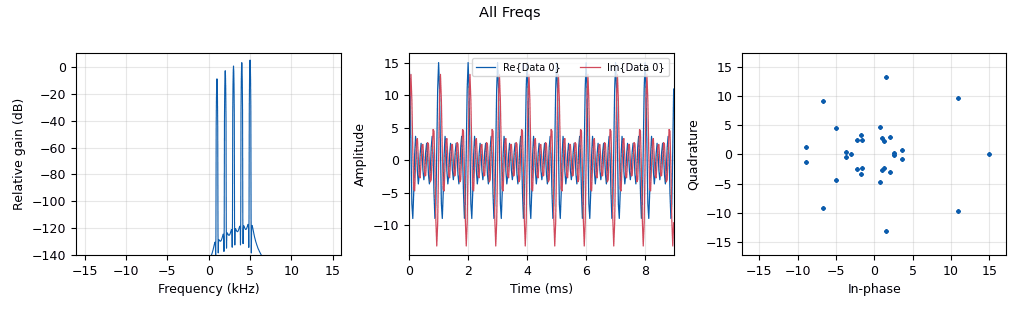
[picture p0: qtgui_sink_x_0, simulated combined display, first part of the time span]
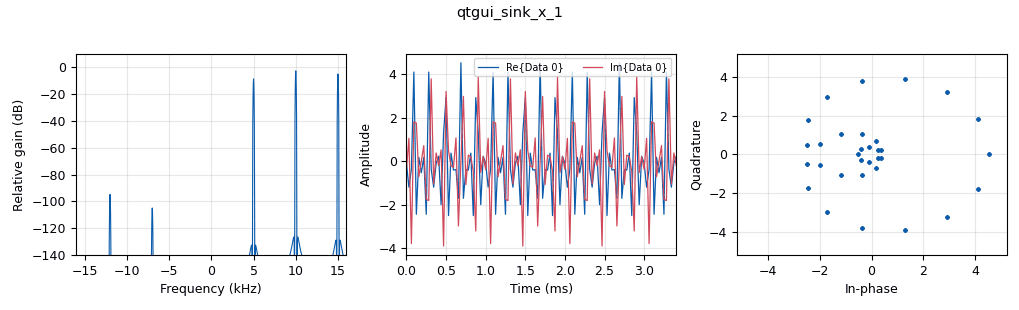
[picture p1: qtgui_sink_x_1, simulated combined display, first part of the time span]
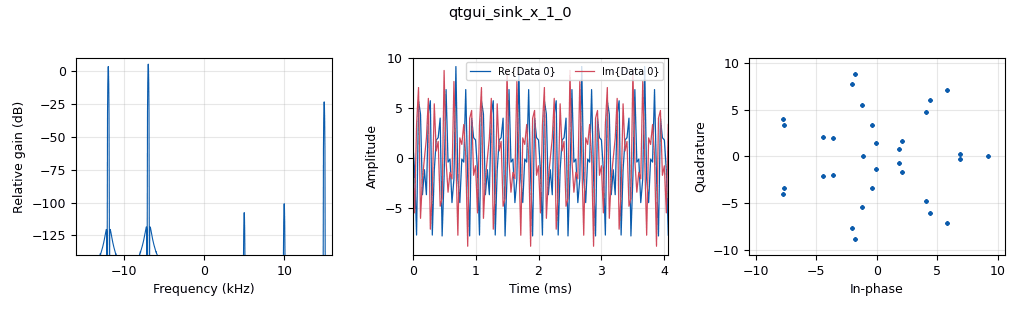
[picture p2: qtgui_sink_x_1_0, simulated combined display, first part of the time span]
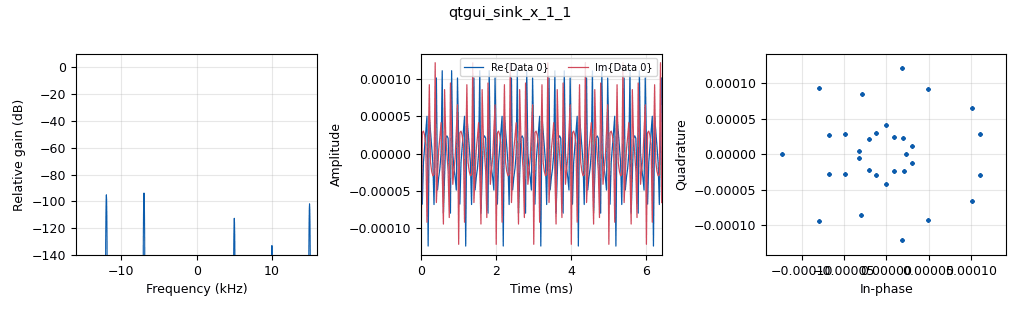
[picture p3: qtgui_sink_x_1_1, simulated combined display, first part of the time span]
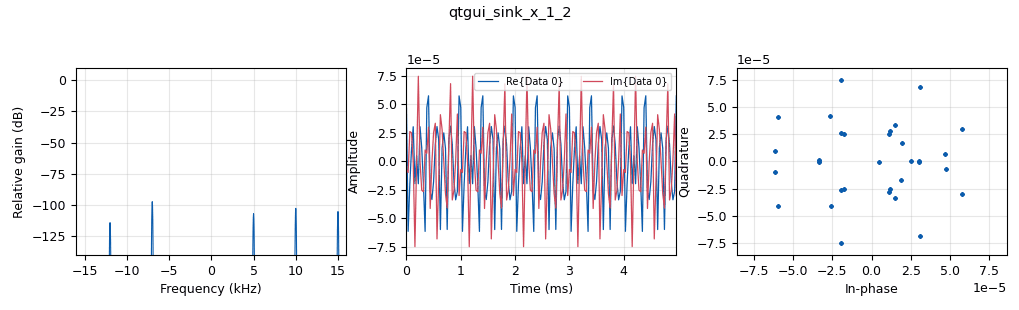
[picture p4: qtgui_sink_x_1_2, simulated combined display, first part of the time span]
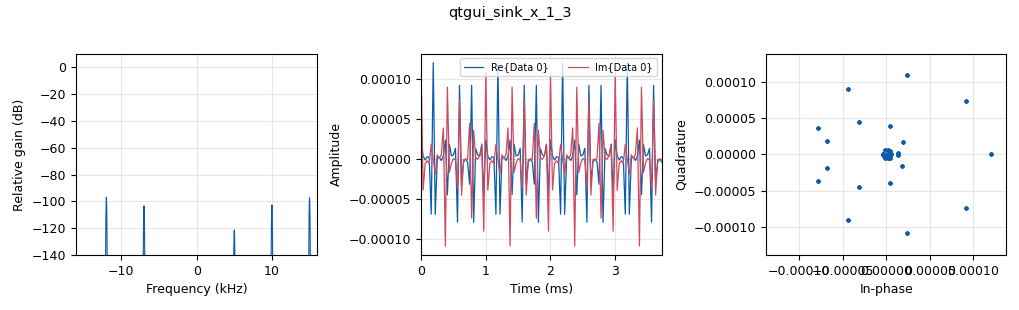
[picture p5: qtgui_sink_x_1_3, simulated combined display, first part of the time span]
options:
  parameters:
    author: vivelpanel
    generate_options: qt_gui
    id: part_test
    output_language: python
    title: Testing Parts
  states: {}

blocks:
- name: samp_rate
  id: variable
  parameters:
    value: '32000'
  states: {}
- name: analog_sig_source_x_0
  id: analog_sig_source_x
  parameters:
    amp: '1'
    freq: '1000'
    offset: '0'
    phase: '0'
    samp_rate: samp_rate
    type: complex
    waveform: analog.GR_COS_WAVE
  states: {}
- name: analog_sig_source_x_0_0
  id: analog_sig_source_x
  parameters:
    amp: '2'
    freq: '2000'
    offset: '0'
    phase: '0'
    samp_rate: samp_rate
    type: complex
    waveform: analog.GR_COS_WAVE
  states: {}
- name: analog_sig_source_x_0_1
  id: analog_sig_source_x
  parameters:
    amp: '3'
    freq: '3000'
    offset: '0'
    phase: '0'
    samp_rate: samp_rate
    type: complex
    waveform: analog.GR_COS_WAVE
  states: {}
- name: analog_sig_source_x_0_2
  id: analog_sig_source_x
  parameters:
    amp: '4'
    freq: '4000'
    offset: '0'
    phase: '0'
    samp_rate: samp_rate
    type: complex
    waveform: analog.GR_COS_WAVE
  states: {}
- name: analog_sig_source_x_0_3
  id: analog_sig_source_x
  parameters:
    amp: '5'
    freq: '5000'
    offset: '0'
    phase: '0'
    samp_rate: samp_rate
    type: complex
    waveform: analog.GR_COS_WAVE
  states: {}
- name: blocks_add_xx_0
  id: blocks_add_xx
  parameters:
    num_inputs: '5'
    type: complex
  states: {}
- name: blocks_throttle_0
  id: blocks_throttle
  parameters:
    samples_per_second: samp_rate
    type: complex
  states: {}
- name: import_0
  id: import
  parameters:
    imports: filter
  states: {}
- name: pfb_channelizer_ccf_0
  id: pfb_channelizer_ccf
  parameters:
    atten: '100'
    bus_conns: '[[0,],]'
    ch_map: '[]'
    nchans: '5'
    osr: '1.0'
  states: {}
- name: qtgui_sink_x_0
  id: qtgui_sink_x
  parameters:
    bw: samp_rate
    fc: '0'
    fftsize: '1024'
    name: '"All Freqs"'
    type: complex
  states: {}
- name: qtgui_sink_x_1
  id: qtgui_sink_x
  parameters:
    bw: samp_rate
    fc: '0'
    fftsize: '1024'
    type: complex
  states: {}
- name: qtgui_sink_x_1_0
  id: qtgui_sink_x
  parameters:
    bw: samp_rate
    fc: '0'
    fftsize: '1024'
    type: complex
  states: {}
- name: qtgui_sink_x_1_1
  id: qtgui_sink_x
  parameters:
    bw: samp_rate
    fc: '0'
    fftsize: '1024'
    type: complex
  states: {}
- name: qtgui_sink_x_1_2
  id: qtgui_sink_x
  parameters:
    bw: samp_rate
    fc: '0'
    fftsize: '1024'
    type: complex
  states: {}
- name: qtgui_sink_x_1_3
  id: qtgui_sink_x
  parameters:
    bw: samp_rate
    fc: '0'
    fftsize: '1024'
    type: complex
  states: {}

connections:
- [analog_sig_source_x_0, '0', blocks_add_xx_0, '0']
- [analog_sig_source_x_0_0, '0', blocks_add_xx_0, '1']
- [analog_sig_source_x_0_1, '0', blocks_add_xx_0, '2']
- [analog_sig_source_x_0_2, '0', blocks_add_xx_0, '3']
- [analog_sig_source_x_0_3, '0', blocks_add_xx_0, '4']
- [blocks_add_xx_0, '0', blocks_throttle_0, '0']
- [blocks_throttle_0, '0', pfb_channelizer_ccf_0, '0']
- [blocks_throttle_0, '0', qtgui_sink_x_0, '0']
- [pfb_channelizer_ccf_0, '0', qtgui_sink_x_1, '0']
- [pfb_channelizer_ccf_0, '1', qtgui_sink_x_1_0, '0']
- [pfb_channelizer_ccf_0, '2', qtgui_sink_x_1_1, '0']
- [pfb_channelizer_ccf_0, '3', qtgui_sink_x_1_2, '0']
- [pfb_channelizer_ccf_0, '4', qtgui_sink_x_1_3, '0']

metadata:
  file_format: 1
